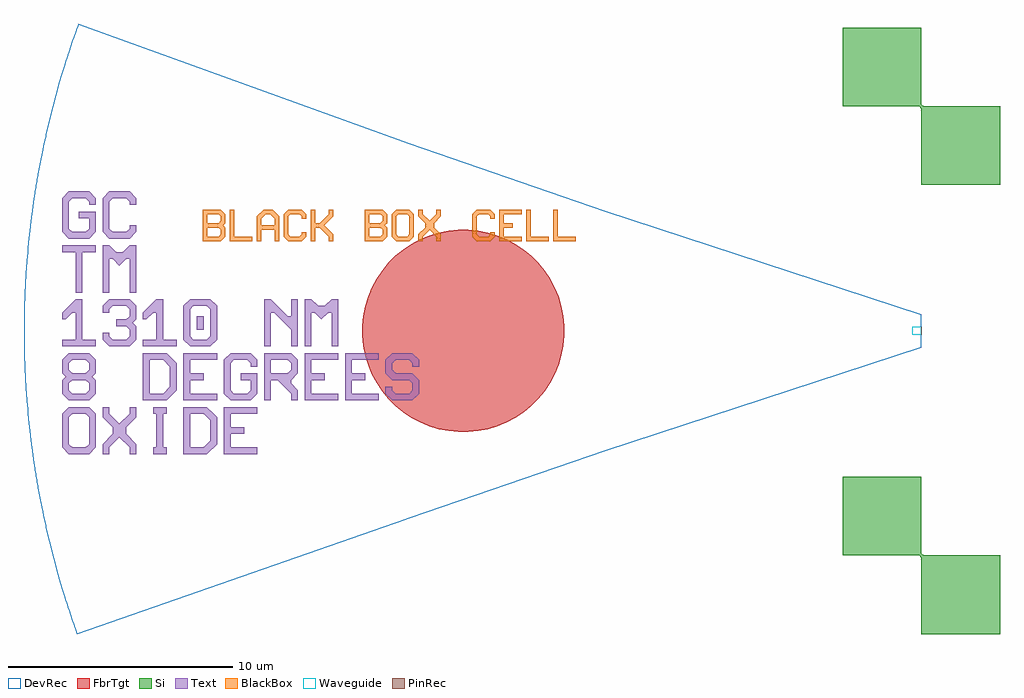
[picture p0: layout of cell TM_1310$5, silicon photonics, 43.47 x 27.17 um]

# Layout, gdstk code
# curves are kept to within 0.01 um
from math import pi, radians
import gdstk
lib = gdstk.Library(unit=1e-6, precision=1e-09)
def R(c, l, rs):  # rectangles x0, y0, x1, y1
    for r in rs: c.add(gdstk.rectangle(r[:2], r[2:], *l))
def P(c, l, *ps):  # polygons
    for p in ps: c.add(gdstk.Polygon(p, *l))
Si = (1, 0)
PinRec = (1, 10)
Waveguide = (1, 99)
Text = (10, 0)
DevRec = (68, 0)
FbrTgt = (81, 0)
BlackBox = (998, 0)

text = lib.new_cell('TEXT')
P(text, BlackBox, [(0,0),(0,1.4),(0.8,1.4),(1,1.2),(0.2,1.2),(0.2,0.8),(0.7,0.8),(0.8,0.9),(0.8,1.1),(0.7,1.2),(1,1.2),(1,0.8),(0.9,0.7),(1,0.6),(0.2,0.6),(0.2,0.2),(0.7,0.2),(0.8,0.3),(0.8,0.5),(0.7,0.6),(1,0.6),(1,0.2),(0.8,0)],
  [(1.2,0),(1.2,1.4),(1.4,1.4),(1.4,0.2),(2.2,0.2),(2.2,0)],
  [(2.4,0),(2.4,1.1),(2.7,1.4),(3.1,1.4),(3.3,1.2),(2.8,1.2),(2.6,1),(2.6,0.7),(3.2,0.7),(3.2,1),(3,1.2),(3.3,1.2),(3.4,1.1),(3.4,0),(3.2,0),(3.2,0.5),(2.6,0.5),(2.6,0)],
  [(3.8,0),(3.6,0.2),(3.6,1.2),(3.8,1.4),(4.4,1.4),(4.6,1.2),(4.6,1),(4.4,1),(4.4,1.1),(4.3,1.2),(3.9,1.2),(3.8,1.1),(3.8,0.3),(3.9,0.2),(4.3,0.2),(4.4,0.3),(4.4,0.4),(4.6,0.4),(4.6,0.2),(4.4,0)],
  [(4.8,0),(4.8,1.4),(5,1.4),(5,0.8),(5.2,0.8),(5.6,1.2),(5.6,1.4),(5.8,1.4),(5.8,1.1),(5.4,0.7),(5.8,0.3),(5.8,0),(5.6,0),(5.6,0.2),(5.2,0.6),(5,0.6),(5,0)],
  [(7.2,0),(7.2,1.4),(8,1.4),(8.2,1.2),(7.4,1.2),(7.4,0.8),(7.9,0.8),(8,0.9),(8,1.1),(7.9,1.2),(8.2,1.2),(8.2,0.8),(8.1,0.7),(8.2,0.6),(7.4,0.6),(7.4,0.2),(7.9,0.2),(8,0.3),(8,0.5),(7.9,0.6),(8.2,0.6),(8.2,0.2),(8,0)],
  [(8.6,0),(8.4,0.2),(8.4,1.2),(8.6,1.4),(9.2,1.4),(9.4,1.2),(9.4,0.7),(9.2,0.7),(9.2,1.1),(9.1,1.2),(8.7,1.2),(8.6,1.1),(8.6,0.3),(8.7,0.2),(9.1,0.2),(9.2,0.3),(9.2,0.7),(9.4,0.7),(9.4,0.2),(9.2,0)],
  [(9.6,0),(9.6,0.3),(9.9,0.6),(9.9,0.8),(9.6,1.1),(9.6,1.4),(9.8,1.4),(9.8,1.2),(10.1,0.9),(10.4,1.2),(10.4,1.4),(10.6,1.4),(10.6,1.1),(10.3,0.8),(10.3,0.6),(10.6,0.3),(10.6,0),(10.4,0),(10.4,0.2),(10.1,0.5),(9.8,0.2),(9.8,0)],
  [(12.2,0),(12,0.2),(12,1.2),(12.2,1.4),(12.8,1.4),(13,1.2),(13,1),(12.8,1),(12.8,1.1),(12.7,1.2),(12.3,1.2),(12.2,1.1),(12.2,0.3),(12.3,0.2),(12.7,0.2),(12.8,0.3),(12.8,0.4),(13,0.4),(13,0.2),(12.8,0)],
  [(13.2,0),(13.2,1.4),(14.2,1.4),(14.2,1.2),(13.4,1.2),(13.4,0.8),(13.8,0.8),(13.8,0.6),(13.4,0.6),(13.4,0.2),(14.2,0.2),(14.2,0)],
  [(14.4,0),(14.4,1.4),(14.6,1.4),(14.6,0.2),(15.4,0.2),(15.4,0)],
  [(15.6,0),(15.6,1.4),(15.8,1.4),(15.8,0.2),(16.6,0.2),(16.6,0)])

gc_tm_1310_8degoxide_bb = lib.new_cell('GC_TM_1310_8degOxide_BB')
R(gc_tm_1310_8degoxide_bb, Waveguide, [(-0.4,-0.175,0,0.175)])
R(gc_tm_1310_8degoxide_bb, Text, [(-32.27,0.06,-31.97,0.66)])
P(gc_tm_1310_8degoxide_bb, Text, [(-32.57,-0.69),(-32.87,-0.39),(-32.87,1.11),(-32.57,1.41),(-31.67,1.41),(-31.37,1.11),(-32.42,1.11),(-32.57,0.96),(-32.57,-0.24),(-32.42,-0.39),(-31.82,-0.39),(-31.67,-0.24),(-31.67,0.96),(-31.82,1.11),(-31.37,1.11),(-31.37,-0.39),(-31.67,-0.69)],
  [(-32.87,-5.49),(-32.87,-3.39),(-31.82,-3.39),(-31.52,-3.69),(-32.57,-3.69),(-32.57,-5.19),(-31.97,-5.19),(-31.67,-4.89),(-31.67,-3.99),(-31.97,-3.69),(-31.52,-3.69),(-31.37,-3.84),(-31.37,-5.04),(-31.82,-5.49)],
  [(-34.67,-3.09),(-34.67,-0.99),(-33.62,-0.99),(-33.32,-1.29),(-34.37,-1.29),(-34.37,-2.79),(-33.77,-2.79),(-33.47,-2.49),(-33.47,-1.59),(-33.77,-1.29),(-33.32,-1.29),(-33.17,-1.44),(-33.17,-2.64),(-33.62,-3.09)],
  [(-34.22,-5.49),(-34.22,-5.19),(-34.07,-5.19),(-34.07,-3.69),(-34.22,-3.69),(-34.22,-3.39),(-33.62,-3.39),(-33.62,-3.69),(-33.77,-3.69),(-33.77,-5.19),(-33.62,-5.19),(-33.62,-5.49)],
  [(-23.57,-3.09),(-23.87,-2.79),(-23.87,-2.49),(-23.57,-2.49),(-23.57,-2.64),(-23.42,-2.79),(-22.82,-2.79),(-22.67,-2.64),(-22.67,-2.34),(-22.82,-2.19),(-23.57,-2.19),(-23.87,-1.89),(-23.87,-1.29),(-23.57,-0.99),(-22.67,-0.99),(-22.37,-1.29),(-22.37,-1.59),(-22.67,-1.59),(-22.67,-1.44),(-22.82,-1.29),(-23.42,-1.29),(-23.57,-1.44),(-23.57,-1.74),(-23.42,-1.89),(-22.67,-1.89),(-22.37,-2.19),(-22.37,-2.79),(-22.67,-3.09)],
  [(-37.97,-3.09),(-38.27,-2.79),(-38.27,-2.19),(-38.12,-2.04),(-38.27,-1.89),(-38.27,-1.29),(-37.97,-0.99),(-37.07,-0.99),(-36.77,-1.29),(-37.82,-1.29),(-37.97,-1.44),(-37.97,-1.74),(-37.82,-1.89),(-37.22,-1.89),(-37.07,-1.74),(-37.07,-1.44),(-37.22,-1.29),(-36.77,-1.29),(-36.77,-1.89),(-36.92,-2.04),(-36.77,-2.19),(-37.82,-2.19),(-37.97,-2.34),(-37.97,-2.64),(-37.82,-2.79),(-37.22,-2.79),(-37.07,-2.64),(-37.07,-2.34),(-37.22,-2.19),(-36.77,-2.19),(-36.77,-2.79),(-37.07,-3.09)],
  [(-38.27,-0.69),(-38.27,-0.39),(-37.67,-0.39),(-37.67,0.81),(-37.82,0.81),(-38.12,0.51),(-38.27,0.51),(-38.27,0.81),(-37.67,1.41),(-37.37,1.41),(-37.37,-0.39),(-36.77,-0.39),(-36.77,-0.69)],
  [(-34.67,-0.69),(-34.67,-0.39),(-34.07,-0.39),(-34.07,0.81),(-34.22,0.81),(-34.52,0.51),(-34.67,0.51),(-34.67,0.81),(-34.07,1.41),(-33.77,1.41),(-33.77,-0.39),(-33.17,-0.39),(-33.17,-0.69)],
  [(-36.47,-5.49),(-36.47,-5.04),(-36.02,-4.59),(-36.02,-4.29),(-36.47,-3.84),(-36.47,-3.39),(-36.17,-3.39),(-36.17,-3.69),(-35.72,-4.14),(-35.27,-3.69),(-35.27,-3.39),(-34.97,-3.39),(-34.97,-3.84),(-35.42,-4.29),(-35.42,-4.59),(-34.97,-5.04),(-34.97,-5.49),(-35.27,-5.49),(-35.27,-5.19),(-35.72,-4.74),(-36.17,-5.19),(-36.17,-5.49)],
  [(-36.17,4.11),(-36.47,4.41),(-36.47,5.91),(-36.17,6.21),(-35.27,6.21),(-34.97,5.91),(-34.97,5.61),(-35.27,5.61),(-35.27,5.76),(-35.42,5.91),(-36.02,5.91),(-36.17,5.76),(-36.17,4.56),(-36.02,4.41),(-35.42,4.41),(-35.27,4.56),(-35.27,4.71),(-34.97,4.71),(-34.97,4.41),(-35.27,4.11)],
  [(-27.47,-0.69),(-27.47,1.41),(-27.17,1.41),(-26.87,1.11),(-26.57,1.11),(-26.27,1.41),(-25.97,1.41),(-25.97,-0.69),(-26.27,-0.69),(-26.27,0.81),(-26.42,0.81),(-26.72,0.51),(-27.02,0.81),(-27.17,0.81),(-27.17,-0.69)],
  [(-36.47,1.71),(-36.47,3.81),(-36.17,3.81),(-35.87,3.51),(-35.57,3.51),(-35.27,3.81),(-34.97,3.81),(-34.97,1.71),(-35.27,1.71),(-35.27,3.21),(-35.42,3.21),(-35.72,2.91),(-36.02,3.21),(-36.17,3.21),(-36.17,1.71)],
  [(-31.07,-5.49),(-31.07,-3.39),(-29.57,-3.39),(-29.57,-3.69),(-30.77,-3.69),(-30.77,-4.29),(-30.17,-4.29),(-30.17,-4.59),(-30.77,-4.59),(-30.77,-5.19),(-29.57,-5.19),(-29.57,-5.49)],
  [(-32.87,-3.09),(-32.87,-0.99),(-31.37,-0.99),(-31.37,-1.29),(-32.57,-1.29),(-32.57,-1.89),(-31.97,-1.89),(-31.97,-2.19),(-32.57,-2.19),(-32.57,-2.79),(-31.37,-2.79),(-31.37,-3.09)],
  [(-27.47,-3.09),(-27.47,-0.99),(-25.97,-0.99),(-25.97,-1.29),(-27.17,-1.29),(-27.17,-1.89),(-26.57,-1.89),(-26.57,-2.19),(-27.17,-2.19),(-27.17,-2.79),(-25.97,-2.79),(-25.97,-3.09)],
  [(-25.67,-3.09),(-25.67,-0.99),(-24.17,-0.99),(-24.17,-1.29),(-25.37,-1.29),(-25.37,-1.89),(-24.77,-1.89),(-24.77,-2.19),(-25.37,-2.19),(-25.37,-2.79),(-24.17,-2.79),(-24.17,-3.09)],
  [(-37.97,-5.49),(-38.27,-5.19),(-38.27,-3.69),(-37.97,-3.39),(-37.07,-3.39),(-36.77,-3.69),(-36.77,-4.44),(-37.07,-4.44),(-37.07,-3.84),(-37.22,-3.69),(-37.82,-3.69),(-37.97,-3.84),(-37.97,-5.04),(-37.82,-5.19),(-37.22,-5.19),(-37.07,-5.04),(-37.07,-4.44),(-36.77,-4.44),(-36.77,-5.19),(-37.07,-5.49)],
  [(-37.67,1.71),(-37.67,3.51),(-38.27,3.51),(-38.27,3.81),(-36.77,3.81),(-36.77,3.51),(-37.37,3.51),(-37.37,1.71)],
  [(-30.77,-3.09),(-31.07,-2.79),(-31.07,-1.29),(-30.77,-0.99),(-29.87,-0.99),(-29.57,-1.29),(-29.57,-1.59),(-29.87,-1.59),(-29.87,-1.44),(-30.02,-1.29),(-30.62,-1.29),(-30.77,-1.44),(-30.77,-2.64),(-30.62,-2.79),(-30.02,-2.79),(-29.87,-2.64),(-29.87,-2.19),(-30.32,-2.19),(-30.32,-1.89),(-29.57,-1.89),(-29.57,-2.79),(-29.87,-3.09)],
  [(-37.97,4.11),(-38.27,4.41),(-38.27,5.91),(-37.97,6.21),(-37.07,6.21),(-36.77,5.91),(-36.77,5.61),(-37.07,5.61),(-37.07,5.76),(-37.22,5.91),(-37.82,5.91),(-37.97,5.76),(-37.97,4.56),(-37.82,4.41),(-37.22,4.41),(-37.07,4.56),(-37.07,5.01),(-37.52,5.01),(-37.52,5.31),(-36.77,5.31),(-36.77,4.41),(-37.07,4.11)],
  [(-29.27,-3.09),(-29.27,-0.99),(-28.07,-0.99),(-27.77,-1.29),(-28.97,-1.29),(-28.97,-1.89),(-28.22,-1.89),(-28.07,-1.74),(-28.07,-1.44),(-28.22,-1.29),(-27.77,-1.29),(-27.77,-1.89),(-28.07,-2.19),(-28.07,-2.34),(-27.77,-2.64),(-27.77,-3.09),(-28.07,-3.09),(-28.07,-2.79),(-28.67,-2.19),(-28.97,-2.19),(-28.97,-3.09)],
  [(-36.17,-0.69),(-36.47,-0.39),(-36.47,-0.09),(-36.17,-0.09),(-36.17,-0.24),(-36.02,-0.39),(-35.42,-0.39),(-35.27,-0.24),(-35.27,0.06),(-35.42,0.21),(-35.87,0.21),(-35.87,0.51),(-35.42,0.51),(-35.27,0.66),(-35.27,0.96),(-35.42,1.11),(-36.02,1.11),(-36.17,0.96),(-36.17,0.81),(-36.47,0.81),(-36.47,1.11),(-36.17,1.41),(-35.27,1.41),(-34.97,1.11),(-34.97,0.51),(-35.12,0.36),(-34.97,0.21),(-34.97,-0.39),(-35.27,-0.69)],
  [(-29.27,-0.69),(-29.27,1.41),(-28.97,1.41),(-28.22,0.66),(-28.07,0.66),(-28.07,1.41),(-27.77,1.41),(-27.77,-0.69),(-28.07,-0.69),(-28.07,0.06),(-28.82,0.81),(-28.97,0.81),(-28.97,-0.69)])
P(gc_tm_1310_8degoxide_bb, DevRec, [(-37.607,-13.5),(-38.153,-11.879),(-38.627,-10.245),(-39.011,-8.679),(-39.378,-6.832),(-39.536,-5.858),(-39.647,-5.058),(-39.835,-3.274),(-39.935,-1.661),(-39.962,-0.763),(-39.969,0.224),(-39.923,1.929),(-39.812,3.541),(-39.712,4.523),(-39.599,5.414),(-39.331,7.097),(-39.011,8.679),(-38.805,9.551),(-38.557,10.505),(-38.045,12.22),(-37.546,13.669),(-22.8,8.353),(-14.109,5.36),(0,0.75),(0,-0.75),(-14.109,-5.36),(-22.796,-8.351)])
P(gc_tm_1310_8degoxide_bb, FbrTgt, [(-20.621,-4.5),(-21.061,-4.457),(-21.495,-4.37),(-21.918,-4.242),(-22.326,-4.073),(-22.716,-3.864),(-23.084,-3.619),(-23.426,-3.338),(-23.738,-3.026),(-24.019,-2.684),(-24.264,-2.316),(-24.473,-1.926),(-24.642,-1.518),(-24.77,-1.095),(-24.857,-0.661),(-24.9,-0.221),(-24.9,0.221),(-24.857,0.661),(-24.77,1.095),(-24.642,1.518),(-24.473,1.926),(-24.264,2.316),(-24.019,2.684),(-23.738,3.026),(-23.426,3.338),(-23.084,3.619),(-22.716,3.864),(-22.326,4.073),(-21.918,4.242),(-21.495,4.37),(-21.061,4.457),(-20.621,4.5),(-20.179,4.5),(-19.739,4.457),(-19.305,4.37),(-18.882,4.242),(-18.474,4.073),(-18.084,3.864),(-17.716,3.619),(-17.374,3.338),(-17.062,3.026),(-16.781,2.684),(-16.536,2.316),(-16.327,1.926),(-16.158,1.518),(-16.03,1.095),(-15.943,0.661),(-15.9,0.221),(-15.9,-0.221),(-15.943,-0.661),(-16.03,-1.095),(-16.158,-1.518),(-16.327,-1.926),(-16.536,-2.316),(-16.781,-2.684),(-17.062,-3.026),(-17.374,-3.338),(-17.716,-3.619),(-18.084,-3.864),(-18.474,-4.073),(-18.882,-4.242),(-19.305,-4.37),(-19.739,-4.457),(-20.179,-4.5)])
gc_tm_1310_8degoxide_bb.add(gdstk.FlexPath([(-0.01,0),(0.01,0)], 0.35, ends="flush", simple_path=True, layer=1, datatype=10))  # PinRec
gc_tm_1310_8degoxide_bb.add(gdstk.Reference(text, (-32,4)))
gc_tm_1310_8degoxide_bb.add(gdstk.Label('opt1', (0,0), layer=1, texttype=10))
gc_tm_1310_8degoxide_bb.add(gdstk.Label('Component=GC_TM_1310_8degOxide_BB', (-28,-5), layer=68, texttype=0))

align_2_6 = lib.new_cell('align$2$6')
P(align_2_6, Si, [(0,0),(0,3.5),(3.401,3.5),(3.5,3.6),(3.5,7),(7,7),(7,3.5),(3.6,3.5),(3.5,3.4),(3.5,0)])

aligner_6 = lib.new_cell('aligner$6')
aligner_6.add(gdstk.Reference(align_2_6, (-3.5,3.5), rotation=3*pi/2))

align_2_1_5 = lib.new_cell('align$2$1$5')
P(align_2_1_5, Si, [(0,0),(0,3.5),(3.401,3.5),(3.5,3.6),(3.5,7),(7,7),(7,3.5),(3.6,3.5),(3.5,3.4),(3.5,0)])

aligner_1_5 = lib.new_cell('aligner$1$5')
aligner_1_5.add(gdstk.Reference(align_2_1_5, (-3.5,3.5), rotation=3*pi/2))

tm_1310_5 = lib.new_cell('TM_1310$5')
tm_1310_5.add(gdstk.Reference(gc_tm_1310_8degoxide_bb, (-3.5,-0.084)))
tm_1310_5.add(gdstk.Reference(aligner_6, (-3.5,9.916)))
tm_1310_5.add(gdstk.Reference(aligner_1_5, (-3.5,-10.084)))

lib.write_gds('TM_1310_5.gds')
